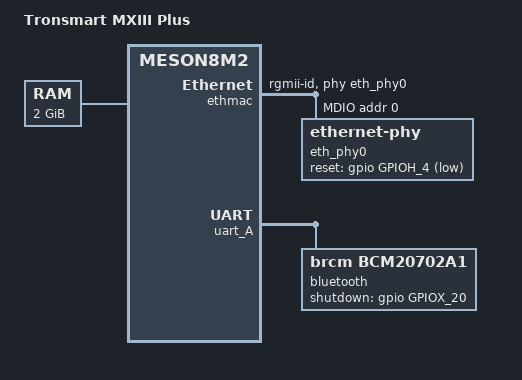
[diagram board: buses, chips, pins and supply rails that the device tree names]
// SPDX-License-Identifier: (GPL-2.0+ OR MIT)
/*
 * Copyright (c) 2018 Oleg Ivanov <balbes-150@yandex.ru>
 * Copyright (c) 2018 Martin Blumenstingl <martin.blumenstingl@googlemail.com>
 */

/dts-v1/;

#include "meson8m2-mxiii.dtsi"

/ {
	model = "Tronsmart MXIII Plus";
	compatible = "tronsmart,mxiii-plus", "amlogic,meson8m2";

	memory {
		device_type = "memory";
		reg = <0x40000000 0x80000000>;
	};
};

&ethmac {
	status = "okay";

	pinctrl-0 = <&eth_rgmii_pins>;
	pinctrl-names = "default";

	phy-handle = <&eth_phy0>;
	phy-mode = "rgmii-id";

	mdio {
		compatible = "snps,dwmac-mdio";
		#address-cells = <1>;
		#size-cells = <0>;

		eth_phy0: ethernet-phy@0 {
			/* Realtek RTL8211F (0x001cc916) */
			reg = <0>;

			reset-assert-us = <10000>;
			reset-deassert-us = <80000>;
			reset-gpios = <&gpio GPIOH_4 GPIO_ACTIVE_LOW>;
		};
	};
};

&uart_A {
	status = "okay";
	pinctrl-0 = <&uart_a1_pins>, <&uart_a1_cts_rts_pins>;
	pinctrl-names = "default";
	uart-has-rtscts;

	bluetooth {
		compatible = "brcm,bcm20702a1";
		shutdown-gpios = <&gpio GPIOX_20 GPIO_ACTIVE_HIGH>;
		max-speed = <2000000>;
	};
};
